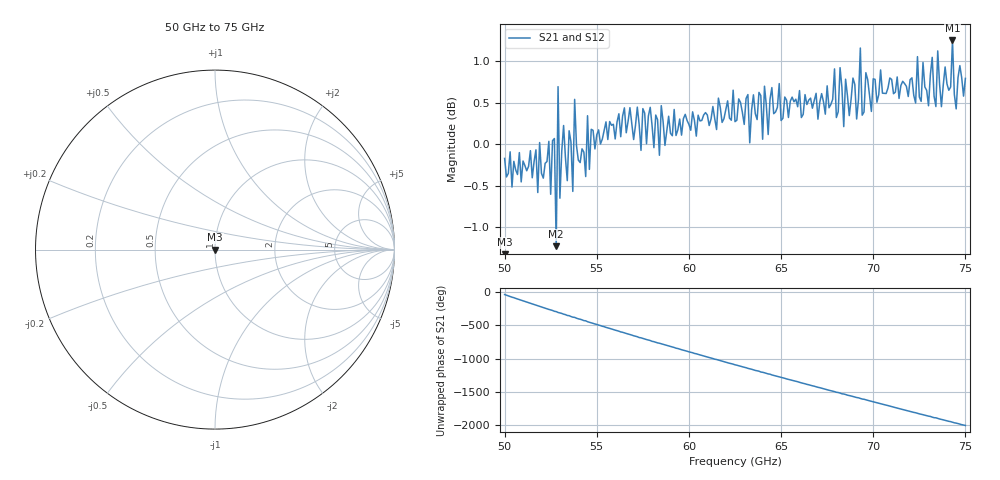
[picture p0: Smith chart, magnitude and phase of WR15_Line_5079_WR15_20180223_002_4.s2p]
# GHZ S RI R 50
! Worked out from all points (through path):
!   251 points, 50 GHz to 75 GHz, reference 50 ohm
!   highest |S21| = 1.25 dB at 74.3 GHz (marker M1); lowest = -1.2 dB at 52.8 GHz (marker M2)
!   lowest |S11| = - dB at 50 GHz (marker M3), VSWR 1.00, Z = 50 + j9.72e-17 ohm
!   |S11| at or under -10 dB: start of sweep to end of sweep
!   |S22| runs from - to - dB; largest |S21 - S12| = 1e-14
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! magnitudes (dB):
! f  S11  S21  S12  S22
! 50 GHz  -  -0.2  -0.2  -
! 52.4 GHz  -  0.0  0.0  -
! 52.5 GHz  -  -0.6  -0.6  -
! 52.7 GHz  -  0.1  0.1  -
! 52.8 GHz  -  -1.2  -1.2  -
! 52.9 GHz  -  0.7  0.7  -
! 53 GHz  -  -0.7  -0.7  -
! 53.2 GHz  -  0.2  0.2  -
! 53.7 GHz  -  -0.6  -0.6  -
! 53.8 GHz  -  0.5  0.5  -
! 54.2 GHz  -  -0.1  -0.1  -
! 58.4 GHz  -  -0.1  -0.1  -
! 58.5 GHz  -  0.5  0.5  -
! 62.5 GHz  -  0.3  0.3  -
! 66.7 GHz  -  0.4  0.4  -
! 70.9 GHz  -  0.8  0.8  -
! 73.4 GHz  -  0.5  0.5  -
! 73.5 GHz  -  1.1  1.1  -
! 73.7 GHz  -  0.5  0.5  -
! 74.3 GHz  -  1.2  1.2  -
! 74.5 GHz  -  0.4  0.4  -
! 75 GHz  -  0.8  0.8  -
